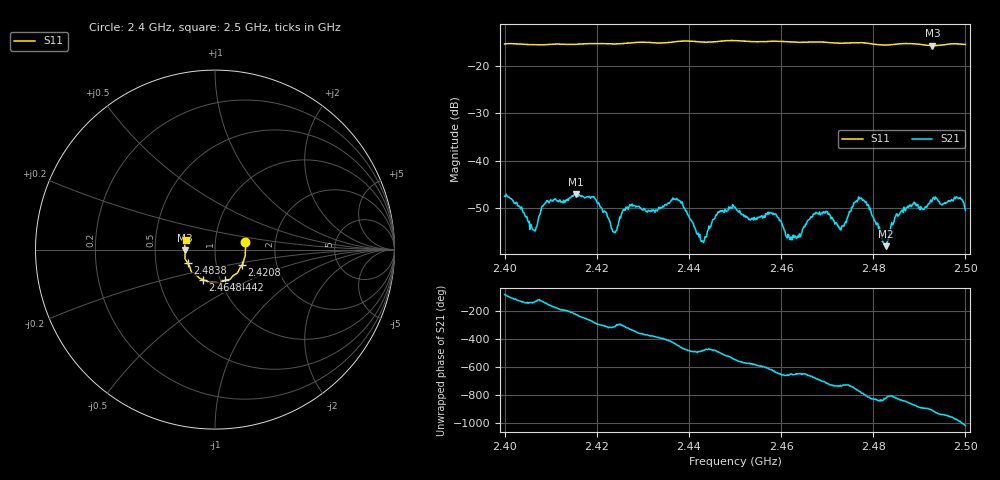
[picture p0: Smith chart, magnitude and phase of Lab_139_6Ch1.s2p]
# Hz S RI R 50
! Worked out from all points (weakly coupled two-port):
!   601 points, 2.4 GHz to 2.5 GHz, reference 50 ohm
!   highest |S21| = -47.12 dB at 2.4155 GHz (marker M1); lowest = -58.2 dB at 2.4827 GHz (marker M2)
!   lowest |S11| = -15.6 dB at 2.4928 GHz (marker M3), VSWR 1.40, Z = 35.8 - j0.36 ohm
!   |S11| at or under -10 dB: start of sweep to end of sweep
!   S12 and S22 are empty: the file has one direction only
!   S11 on the Smith chart (normalised r, x): 2.4 GHz: 1.40, +0.12; 2.4208 GHz: 1.33, -0.24; 2.4442 GHz: 1.05, -0.37; 2.4648 GHz: 0.83, -0.28; 2.4838 GHz: 0.73, -0.11; 2.5 GHz: 0.72, +0.08
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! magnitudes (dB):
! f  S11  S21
! 2.4 GHz  -15.2  -47.6
! 2.4063 GHz  -15.4  -54.8
! 2.409 GHz  -15.4  -48.8
! 2.4155 GHz  -15.3  -47.1
! 2.4167 GHz  -15.2  -47.7
! 2.4208 GHz  -15.2  -49.9
! 2.4238 GHz  -15.2  -55.3
! 2.4272 GHz  -15.0  -49.3
! 2.4333 GHz  -15.0  -50.2
! 2.4375 GHz  -14.7  -48.3
! 2.4427 GHz  -14.8  -57.2
! 2.4442 GHz  -14.9  -54.8
! 2.45 GHz  -14.5  -49.8
! 2.4648 GHz  -14.9  -54.3
! 2.4667 GHz  -14.8  -52.0
! 2.4732 GHz  -15.1  -53.9
! 2.4773 GHz  -15.0  -47.9
! 2.4827 GHz  -15.5  -58.2
! 2.4833 GHz  -15.5  -56.8
! 2.4838 GHz  -15.4  -53.9
! 2.4928 GHz  -15.6  -48.3
! 2.5 GHz  -15.4  -50.5
